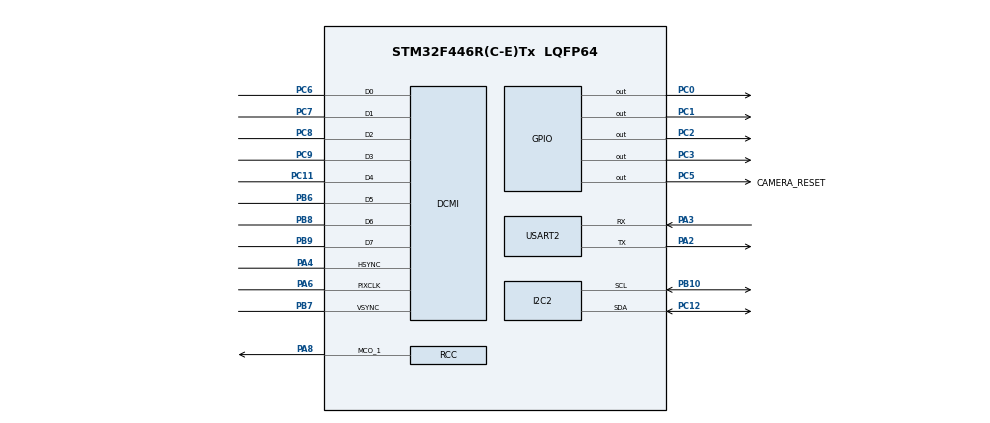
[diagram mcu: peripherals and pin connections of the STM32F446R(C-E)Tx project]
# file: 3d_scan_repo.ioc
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DCMI.HSPolarity=DCMI_HSPOLARITY_LOW
DCMI.JPEGMode=DCMI_JPEG_DISABLE
DCMI.PCKPolarity=DCMI_PCKPOLARITY_RISING
DCMI.VSPolarity=DCMI_VSPOLARITY_HIGH
Dma.DCMI.0.Direction=DMA_PERIPH_TO_MEMORY
Dma.DCMI.0.FIFOMode=DMA_FIFOMODE_DISABLE
Dma.DCMI.0.Instance=DMA2_Stream1
Dma.DCMI.0.MemDataAlignment=DMA_MDATAALIGN_WORD
Dma.DCMI.0.MemInc=DMA_MINC_ENABLE
Dma.DCMI.0.Mode=DMA_NORMAL
Dma.DCMI.0.PeriphDataAlignment=DMA_PDATAALIGN_WORD
Dma.DCMI.0.PeriphInc=DMA_PINC_DISABLE
Dma.DCMI.0.Priority=DMA_PRIORITY_LOW
Dma.Request0=DCMI
Mcu.Family=STM32F4
Mcu.Name=STM32F446R(C-E)Tx
Mcu.Package=LQFP64
NVIC.DCMI_IRQn=true\:0\:0\:false\:false\:true\:true\:true\:true
NVIC.DMA2_Stream1_IRQn=true\:0\:0\:false\:false\:true\:false\:true\:true
NVIC.PriorityGroup=NVIC_PRIORITYGROUP_4
NVIC.TIM1_UP_TIM10_IRQn=true\:0\:0\:false\:false\:true\:true\:true\:true
NVIC.USART2_IRQn=true\:0\:0\:false\:false\:true\:true\:true\:true
PA2.Mode=Asynchronous
PA2.Signal=USART2_TX
PA3.Mode=Asynchronous
PA3.Signal=USART2_RX
PA4.Mode=Slave_8_bits_External_Synchro
PA4.Signal=DCMI_HSYNC
PA6.Mode=Slave_8_bits_External_Synchro
PA6.Signal=DCMI_PIXCLK
PA8.Mode=Clock-out-1
PA8.Signal=RCC_MCO_1
PB10.Mode=I2C
PB10.Signal=I2C2_SCL
PB6.Mode=Slave_8_bits_External_Synchro
PB6.Signal=DCMI_D5
PB7.Mode=Slave_8_bits_External_Synchro
PB7.Signal=DCMI_VSYNC
PB8.Mode=Slave_8_bits_External_Synchro
PB8.Signal=DCMI_D6
PB9.Mode=Slave_8_bits_External_Synchro
PB9.Signal=DCMI_D7
PC0.Signal=GPIO_Output
PC1.Signal=GPIO_Output
PC11.Mode=Slave_8_bits_External_Synchro
PC11.Signal=DCMI_D4
PC12.Mode=I2C
PC12.Signal=I2C2_SDA
PC2.Signal=GPIO_Output
PC3.Signal=GPIO_Output
PC5.GPIO_Label=CAMERA_RESET
PC5.Signal=GPIO_Output
PC6.Mode=Slave_8_bits_External_Synchro
PC6.Signal=DCMI_D0
PC7.Mode=Slave_8_bits_External_Synchro
PC7.Signal=DCMI_D1
PC8.Mode=Slave_8_bits_External_Synchro
PC8.Signal=DCMI_D2
PC9.Mode=Slave_8_bits_External_Synchro
PC9.Signal=DCMI_D3
ProjectManager.HeapSize=0x200
ProjectManager.StackSize=0x400
ProjectManager.TargetToolchain=CMake
RCC.CortexFreq_Value=16000000
RCC.RCC_MCODiv1=RCC_MCODIV_2
RCC.USBFreq_Value=96000000
RCC.VCOOutputFreq_Value=192000000
TIM1.Period=1000-1
TIM1.Prescaler=16000-1
USART2.VirtualMode=VM_ASYNC
VP_TIM1_VS_ClockSourceINT.Mode=Internal
board=custom

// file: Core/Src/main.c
/* USER CODE BEGIN Header */
/**
  ******************************************************************************
  * @file           : main.c
  * @brief          : Main program body
  ******************************************************************************
  * @attention
  *
  * Copyright (c) 2026 STMicroelectronics.
  * All rights reserved.
  *
  * This software is licensed under terms that can be found in the LICENSE file
  * in the root directory of this software component.
  * If no LICENSE file comes with this software, it is provided AS-IS.
  *
  ******************************************************************************
  */
/* USER CODE END Header */
#include "main.h"

/* USER CODE BEGIN Includes */
#include "stepper.h"
#include "stm32f446xx.h"
#include "stm32f4xx_hal_gpio.h"
#include "../../Drivers/OV7670/OV7670.h"
#include "../../Drivers/OV7670/OV7670_math.h"
#include <stdint.h>
/* USER CODE END Includes */

DCMI_HandleTypeDef hdcmi;
DMA_HandleTypeDef hdma_dcmi;

I2C_HandleTypeDef hi2c2;

TIM_HandleTypeDef htim1;

UART_HandleTypeDef huart2;

/* USER CODE BEGIN PV */

#define DISABLE_FRAME_BUFFER_UART 1

// Half-frame buffer: 320 pixels x 120 rows, 2 RGB565 pixels per uint32_t
uint32_t frame_buffer[RESOLUTION_X * (RESOLUTION_Y / 2) / 2];
volatile uint8_t new_capture = 0;
volatile uint8_t ack_buffer[1];
volatile bool ack_received = false;

/* USER CODE END PV */

void SystemClock_Config(void);
static void MX_GPIO_Init(void);
static void MX_DMA_Init(void);
static void MX_TIM1_Init(void);
static void MX_DCMI_Init(void);
static void MX_I2C2_Init(void);
static void MX_USART2_UART_Init(void);
/* USER CODE BEGIN PFP */
static void on_frame_callback(void);
/* USER CODE END PFP */

/* USER CODE BEGIN 0 */
void HAL_TIM_PeriodElapsedCallback(TIM_HandleTypeDef *htim){
}
/* USER CODE END 0 */

int main(void)
{

  /* MCU Configuration--------------------------------------------------------*/

  /* Reset of all peripherals, Initializes the Flash interface and the Systick. */
  HAL_Init();

  /* USER CODE BEGIN Init */

  stepper_t stepper;
  stepper.gpio = GPIOC;
  stepper.direction = RIGHT_DIRECTION;
  stepper.is_moving = 0;
  stepper.pins[0] = GPIO_PIN_0;
  stepper.pins[1] = GPIO_PIN_1;
  stepper.pins[2] = GPIO_PIN_2;
  stepper.pins[3] = GPIO_PIN_3;
  stepper.state = 0;
  stepper.total_step_counter = 0;

  /* USER CODE END Init */

  /* Configure the system clock */
  SystemClock_Config();

  /* Initialize all configured peripherals */
  MX_GPIO_Init();
  MX_DMA_Init();
  MX_TIM1_Init();
  MX_DCMI_Init();
  MX_I2C2_Init();
  MX_USART2_UART_Init();
  /* USER CODE BEGIN 2 */
  HAL_UART_Receive_IT(&huart2, ack_buffer, 1);
  HAL_GPIO_WritePin(CAMERA_RESET_GPIO_Port, CAMERA_RESET_Pin, GPIO_PIN_RESET); // Turn on camera
  ov7670_init(&hdcmi, &hdma_dcmi, &hi2c2);

  ov7670_config(DEFAULT_MODE);
  ov7670_register_callback(NULL, NULL, &on_frame_callback);

  //ov7670_startCap(OV7670_CAP_SINGLE_FRAME, (uint32_t)frame_buffer);
  uint8_t pid = 0;
  ov7670_read(0x0A, &pid);
  /* USER CODE END 2 */

  /* Infinite loop */
  /* USER CODE BEGIN WHILE */

  while (!ack_received) {
    const uint32_t sync_magic = 0xDEEEEEAD;
    HAL_UART_Transmit(&huart2, (uint8_t *)&sync_magic, 4, HAL_MAX_DELAY);
  }

  while (1)
  {
    /* USER CODE END WHILE */

    /* USER CODE BEGIN 3 */

    if (!ack_received){
      continue;
    }

    for (uint16_t half = 0; half < 2; half++) {
      uint16_t y_offset = half * (RESOLUTION_Y / 2);
      ov7670_config_crop_region(&hdcmi, y_offset, RESOLUTION_Y / 2);
      ov7670_start_cap(OV7670_CAP_SINGLE_FRAME, (uint32_t)frame_buffer);

      uint32_t timeout = HAL_GetTick();
      while (!new_capture) {
        if (HAL_GetTick() - timeout > 500) {
          HAL_DCMI_Stop(&hdcmi);
          ov7670_start_cap(OV7670_CAP_SINGLE_FRAME, (uint32_t)frame_buffer);
          timeout = HAL_GetTick();
        }
      }

      new_capture = 0;
      uint32_t half_frame_bytes = RESOLUTION_X * (RESOLUTION_Y / 2) * 2;
#if !DISABLE_FRAME_BUFFER_UART
      HAL_UART_Transmit(&huart2, (uint8_t*)frame_buffer, (uint16_t)(half_frame_bytes / 2), HAL_MAX_DELAY);
      HAL_UART_Transmit(&huart2, (uint8_t*)frame_buffer + (half_frame_bytes / 2), (uint16_t)(half_frame_bytes / 2), HAL_MAX_DELAY);
#endif
      ov7670_find_brightest_pixels(frame_buffer, half);
    }
    HAL_UART_Transmit(&huart2, (uint8_t*)brightest_pixels, (uint16_t)(RESOLUTION_Y * sizeof(uint16_t)), HAL_MAX_DELAY);
    move_stepper(STEP_INCREMENT, 1, stepper.direction, &stepper);
    stepper.total_step_counter += STEP_INCREMENT;
    HAL_UART_Transmit(&huart2, (uint8_t *)&stepper.total_step_counter, sizeof(stepper.total_step_counter), HAL_MAX_DELAY);
    ack_received = false;

    if (stepper.total_step_counter > STEPPER_360) {
      break;
    }

  }
  /* USER CODE END 3 */
}

void SystemClock_Config(void)
{
  RCC_OscInitTypeDef RCC_OscInitStruct = {0};
  RCC_ClkInitTypeDef RCC_ClkInitStruct = {0};

  /** Configure the main internal regulator output voltage
  */
  __HAL_RCC_PWR_CLK_ENABLE();
  __HAL_PWR_VOLTAGESCALING_CONFIG(PWR_REGULATOR_VOLTAGE_SCALE3);

  /** Initializes the RCC Oscillators according to the specified parameters
  * in the RCC_OscInitTypeDef structure.
  */
  RCC_OscInitStruct.OscillatorType = RCC_OSCILLATORTYPE_HSI;
  RCC_OscInitStruct.HSIState = RCC_HSI_ON;
  RCC_OscInitStruct.HSICalibrationValue = RCC_HSICALIBRATION_DEFAULT;
  RCC_OscInitStruct.PLL.PLLState = RCC_PLL_NONE;
  if (HAL_RCC_OscConfig(&RCC_OscInitStruct) != HAL_OK)
  {
    Error_Handler();
  }

  /** Initializes the CPU, AHB and APB buses clocks
  */
  RCC_ClkInitStruct.ClockType = RCC_CLOCKTYPE_HCLK|RCC_CLOCKTYPE_SYSCLK
                              |RCC_CLOCKTYPE_PCLK1|RCC_CLOCKTYPE_PCLK2;
  RCC_ClkInitStruct.SYSCLKSource = RCC_SYSCLKSOURCE_HSI;
  RCC_ClkInitStruct.AHBCLKDivider = RCC_SYSCLK_DIV1;
  RCC_ClkInitStruct.APB1CLKDivider = RCC_HCLK_DIV1;
  RCC_ClkInitStruct.APB2CLKDivider = RCC_HCLK_DIV1;

  if (HAL_RCC_ClockConfig(&RCC_ClkInitStruct, FLASH_LATENCY_0) != HAL_OK)
  {
    Error_Handler();
  }
  HAL_RCC_MCOConfig(RCC_MCO1, RCC_MCO1SOURCE_HSI, RCC_MCODIV_2);
}

static void MX_DCMI_Init(void)
{

  hdcmi.Instance = DCMI;
  hdcmi.Init.SynchroMode = DCMI_SYNCHRO_HARDWARE;
  hdcmi.Init.PCKPolarity = DCMI_PCKPOLARITY_RISING;
  hdcmi.Init.VSPolarity = DCMI_VSPOLARITY_HIGH;
  hdcmi.Init.HSPolarity = DCMI_HSPOLARITY_LOW;
  hdcmi.Init.CaptureRate = DCMI_CR_ALL_FRAME;
  hdcmi.Init.ExtendedDataMode = DCMI_EXTEND_DATA_8B;
  hdcmi.Init.JPEGMode = DCMI_JPEG_DISABLE;
  hdcmi.Init.ByteSelectMode = DCMI_BSM_ALL;
  hdcmi.Init.ByteSelectStart = DCMI_OEBS_ODD;
  hdcmi.Init.LineSelectMode = DCMI_LSM_ALL;
  hdcmi.Init.LineSelectStart = DCMI_OELS_ODD;
  if (HAL_DCMI_Init(&hdcmi) != HAL_OK)
  {
    Error_Handler();
  }
  /* USER CODE BEGIN DCMI_Init 2 */
  HAL_DCMI_EnableCrop(&hdcmi);
  ov7670_config_crop_region(&hdcmi, 0, RESOLUTION_Y / 2);
  /* USER CODE END DCMI_Init 2 */

}

static void MX_I2C2_Init(void)
{

  hi2c2.Instance = I2C2;
  hi2c2.Init.ClockSpeed = 100000;
  hi2c2.Init.DutyCycle = I2C_DUTYCYCLE_2;
  hi2c2.Init.OwnAddress1 = 0;
  hi2c2.Init.AddressingMode = I2C_ADDRESSINGMODE_7BIT;
  hi2c2.Init.DualAddressMode = I2C_DUALADDRESS_DISABLE;
  hi2c2.Init.OwnAddress2 = 0;
  hi2c2.Init.GeneralCallMode = I2C_GENERALCALL_DISABLE;
  hi2c2.Init.NoStretchMode = I2C_NOSTRETCH_DISABLE;
  if (HAL_I2C_Init(&hi2c2) != HAL_OK)
  {
    Error_Handler();
  }

}

static void MX_TIM1_Init(void)
{

  TIM_ClockConfigTypeDef sClockSourceConfig = {0};
  TIM_MasterConfigTypeDef sMasterConfig = {0};

  htim1.Instance = TIM1;
  htim1.Init.Prescaler = 16000-1;
  htim1.Init.CounterMode = TIM_COUNTERMODE_UP;
  htim1.Init.Period = 1000-1;
  htim1.Init.ClockDivision = TIM_CLOCKDIVISION_DIV1;
  htim1.Init.RepetitionCounter = 0;
  htim1.Init.AutoReloadPreload = TIM_AUTORELOAD_PRELOAD_DISABLE;
  if (HAL_TIM_Base_Init(&htim1) != HAL_OK)
  {
    Error_Handler();
  }
  sClockSourceConfig.ClockSource = TIM_CLOCKSOURCE_INTERNAL;
  if (HAL_TIM_ConfigClockSource(&htim1, &sClockSourceConfig) != HAL_OK)
  {
    Error_Handler();
  }
  sMasterConfig.MasterOutputTrigger = TIM_TRGO_RESET;
  sMasterConfig.MasterSlaveMode = TIM_MASTERSLAVEMODE_DISABLE;
  if (HAL_TIMEx_MasterConfigSynchronization(&htim1, &sMasterConfig) != HAL_OK)
  {
    Error_Handler();
  }

}

static void MX_USART2_UART_Init(void)
{

  huart2.Instance = USART2;
  huart2.Init.BaudRate = 115200;
  huart2.Init.WordLength = UART_WORDLENGTH_8B;
  huart2.Init.StopBits = UART_STOPBITS_1;
  huart2.Init.Parity = UART_PARITY_NONE;
  huart2.Init.Mode = UART_MODE_TX_RX;
  huart2.Init.HwFlowCtl = UART_HWCONTROL_NONE;
  huart2.Init.OverSampling = UART_OVERSAMPLING_16;
  if (HAL_UART_Init(&huart2) != HAL_OK)
  {
    Error_Handler();
  }

}

static void MX_DMA_Init(void)
{

  /* DMA controller clock enable */
  __HAL_RCC_DMA2_CLK_ENABLE();

  /* DMA interrupt init */
  /* DMA2_Stream1_IRQn interrupt configuration */
  HAL_NVIC_SetPriority(DMA2_Stream1_IRQn, 0, 0);
  HAL_NVIC_EnableIRQ(DMA2_Stream1_IRQn);

}

static void MX_GPIO_Init(void)
{
  GPIO_InitTypeDef GPIO_InitStruct = {0};

  /* GPIO Ports Clock Enable */
  __HAL_RCC_GPIOC_CLK_ENABLE();
  __HAL_RCC_GPIOA_CLK_ENABLE();
  __HAL_RCC_GPIOB_CLK_ENABLE();

  /*Configure GPIO pin Output Level */
  HAL_GPIO_WritePin(GPIOC, GPIO_PIN_0|GPIO_PIN_1|GPIO_PIN_2|GPIO_PIN_3
                          |CAMERA_RESET_Pin, GPIO_PIN_RESET);

  /*Configure GPIO pins : PC0 PC1 PC2 PC3
                           CAMERA_RESET_Pin */
  GPIO_InitStruct.Pin = GPIO_PIN_0|GPIO_PIN_1|GPIO_PIN_2|GPIO_PIN_3
                          |CAMERA_RESET_Pin;
  GPIO_InitStruct.Mode = GPIO_MODE_OUTPUT_PP;
  GPIO_InitStruct.Pull = GPIO_NOPULL;
  GPIO_InitStruct.Speed = GPIO_SPEED_FREQ_LOW;
  HAL_GPIO_Init(GPIOC, &GPIO_InitStruct);

  /*Configure GPIO pin : PA8 */
  GPIO_InitStruct.Pin = GPIO_PIN_8;
  GPIO_InitStruct.Mode = GPIO_MODE_AF_PP;
  GPIO_InitStruct.Pull = GPIO_NOPULL;
  GPIO_InitStruct.Speed = GPIO_SPEED_FREQ_LOW;
  GPIO_InitStruct.Alternate = GPIO_AF0_MCO;
  HAL_GPIO_Init(GPIOA, &GPIO_InitStruct);

}

/* USER CODE BEGIN 4 */
static void on_frame_callback(void) {
  new_capture = 1;
}
void HAL_UART_RxCpltCallback(UART_HandleTypeDef *huart) {
	HAL_UART_Receive_IT(&huart2, ack_buffer, 1);
  if (*ack_buffer == 23){
    ack_received = true;
  }
}
/* USER CODE END 4 */

void Error_Handler(void)
{
  __disable_irq();
  while (1)
  {
  }
}
